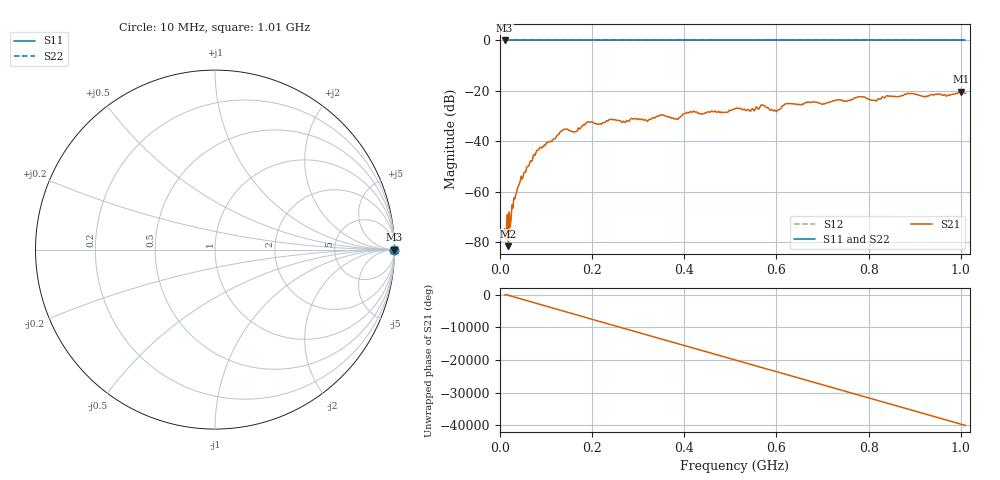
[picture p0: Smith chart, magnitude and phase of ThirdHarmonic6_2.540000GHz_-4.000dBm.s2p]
! 8/17/2025 5:07:17 AM
! C:\ANRITSUVNA\TEMP\TEMP.S2P
! CHANNEL.1
! TR.MEASUREMENT
! RAW.DATA
! RF.CORRECTION.OFF
! AVERAGING.OFF
! IF.BANDWIDTH: 5KHZ
! SWEEPTYPE:  FREQ.SWEEP(Linear)
! Reference Plane Port Info
! PORT:  PORT1  PORT2
! DISTANCE:  0  m  0  m
! TIME:  0  s  0  s
! PHASE.OFFSET:  0  deg.  0  deg.
! LOSS:  0  dB  0  dB
! REF.LOSS:  0  dB  0  dB
! REF.FREQ:  0  Hz  0  Hz
! Power Info
! POWER:  -20  dBm  -20  dBm
! EFF.POWER:  -20  dBm  -20  dBm
! SOURCE.ATTEN:  0  dB  0  dB
! TEST.ATTEN:  0  dB  0  dB
# GHZ S RI R 50.0
! FREQ.GHZ  S11RE  S11IM  S21RE  S21IM  S12RE  S12IM  S22RE  S22IM
!; PortSelection: Port_12
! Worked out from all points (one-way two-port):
!   501 points, 10 MHz to 1.01 GHz, reference 50 ohm
!   highest |S21| = -20.34 dB at 1 GHz (marker M1); lowest = -81.6 dB at 18 MHz (marker M2)
!   lowest |S11| = 0.0 dB at 10 MHz (marker M3)
!   |S11| at or under -10 dB: nowhere
!   |S22| runs from 0.0 to 0.0 dB; largest |S21 - S12| = 1.1
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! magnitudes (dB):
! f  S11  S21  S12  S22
! 10 MHz  0.0  -74.7  0.0  0.0
! 18 MHz  0.0  -81.6  0.0  0.0
! 42 MHz  0.0  -56.9  0.0  0.0
! 76 MHz  0.0  -45.6  0.0  0.0
! 136 MHz  0.0  -35.7  0.0  0.0
! 162 MHz  0.0  -36.3  0.0  0.0
! 178 MHz  0.0  -33.9  0.0  0.0
! 192 MHz  0.0  -32.3  0.0  0.0
! 322 MHz  0.0  -31.7  0.0  0.0
! 344 MHz  0.0  -30.1  0.0  0.0
! 384 MHz  0.0  -31.1  0.0  0.0
! 416 MHz  0.0  -28.5  0.0  0.0
! 510 MHz  0.0  -27.1  0.0  0.0
! 570 MHz  0.0  -25.7  0.0  0.0
! 598 MHz  0.0  -27.9  0.0  0.0
! 622 MHz  0.0  -25.0  0.0  0.0
! 678 MHz  0.0  -24.4  0.0  0.0
! 780 MHz  0.0  -22.3  0.0  0.0
! 814 MHz  0.0  -23.8  0.0  0.0
! 844 MHz  0.0  -22.1  0.0  0.0
! 1 GHz  0.0  -20.3  0.0  0.0
! 1.01 GHz  0.0  -21.0  0.0  0.0
